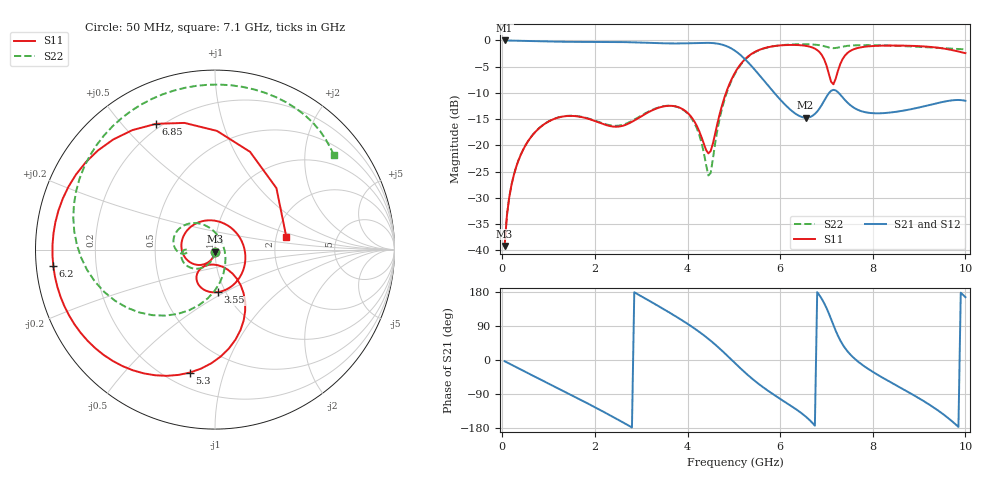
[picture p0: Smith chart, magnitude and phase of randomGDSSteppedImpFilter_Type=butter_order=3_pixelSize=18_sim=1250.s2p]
! freq	dB(S11)	phase(S11)	dB(S12)	phase(S12)
!  dB(S21)	phase(S21)	dB(S22)	phase(S22)
!S-par simulation data
#  GHz  S  DB  R 50
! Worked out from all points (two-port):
!   200 points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, 50 MHz to 10 GHz, reference 50 ohm
!   highest |S21| = -0.01 dB at 50 MHz (marker M1); lowest = -14.7 dB at 6.55 GHz (marker M2)
!   |S21| within 3 dB of the highest: start of sweep to 5.172 GHz
!   lowest |S11| = -39.2 dB at 50 MHz (marker M3), VSWR 1.02, Z = 50 - j1.1 ohm
!   |S11| at or under -10 dB: start of sweep to 4.831 GHz
!   |S22| runs from -39.2 to -0.7 dB; largest |S21 - S12| = 0
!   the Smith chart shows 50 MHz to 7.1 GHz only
!   S11 on the Smith chart (normalised r, x): 50 MHz: 1.00, -0.02; 3.55 GHz: 0.92, -0.46; 5.3 GHz: 0.29, -0.77; 6.2 GHz: 0.05, -0.05; 6.85 GHz: 0.18, +0.62; 7.1 GHz: 2.27, +0.39
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0.05  -39.19 -92.0  -0.01 -3.2  -0.01 -3.2  -39.20 -91.6
0.2  -27.48 -104.1  -0.03 -12.6  -0.03 -12.6  -27.46 -100.9
0.55  -19.29 -129.5  -0.10 -34.5  -0.10 -34.5  -19.27 -120.4
1.75  -14.67 135.4  -0.28 -108.7  -0.28 -108.7  -14.62 -173.9
2.65  -16.13 17.2  -0.32 -167.7  -0.32 -167.7  -15.94 -173.6
3.4  -12.76 -72.8  -0.53 140.3  -0.53 140.3  -12.70 173.0
3.55  -12.49 -86.1  -0.56 129.5  -0.56 129.5  -12.45 165.3
4.1  -14.79 -124.5  -0.52 87.4  -0.52 87.4  -15.02 123.9
4.45  -21.54 -96.3  -0.46 55.8  -0.46 55.8  -25.73 32.7
5.05  -5.77 -77.2  -2.12 -11.2  -2.12 -11.2  -5.93 -133.7
5.3  -3.11 -101.5  -4.11 -39.4  -4.11 -39.4  -3.19 -165.1
6.2  -0.86 -174.1  -13.04 -118.2  -13.04 -118.2  -0.79 108.6
6.55  -1.03 156.7  -14.73 -149.1  -14.73 -149.1  -0.73 80.3
6.7  -1.36 139.8  -14.36 -166.5  -14.36 -166.5  -0.77 68.3
6.85  -2.23 115.1  -12.96 170.5  -12.96 170.5  -0.91 56.2
7.1  -7.88 10.4  -9.60 108.1  -9.60 108.1  -1.44 38.5
7.25  -5.73 -99.2  -9.87 63.4  -9.87 63.4  -1.36 30.2
7.55  -1.83 -172.6  -12.57 10.2  -12.57 10.2  -0.96 8.0
8.35  -0.98 123.1  -13.77 -56.2  -13.77 -56.2  -0.98 -51.6
9.25  -1.24 57.5  -12.26 -120.0  -12.26 -120.0  -1.34 -112.0
9.7  -1.82 5.9  -11.43 -160.5  -11.43 -160.5  -1.58 -140.1
10  -2.42 -43.5  -11.50 165.9  -11.50 165.9  -1.69 -158.6
